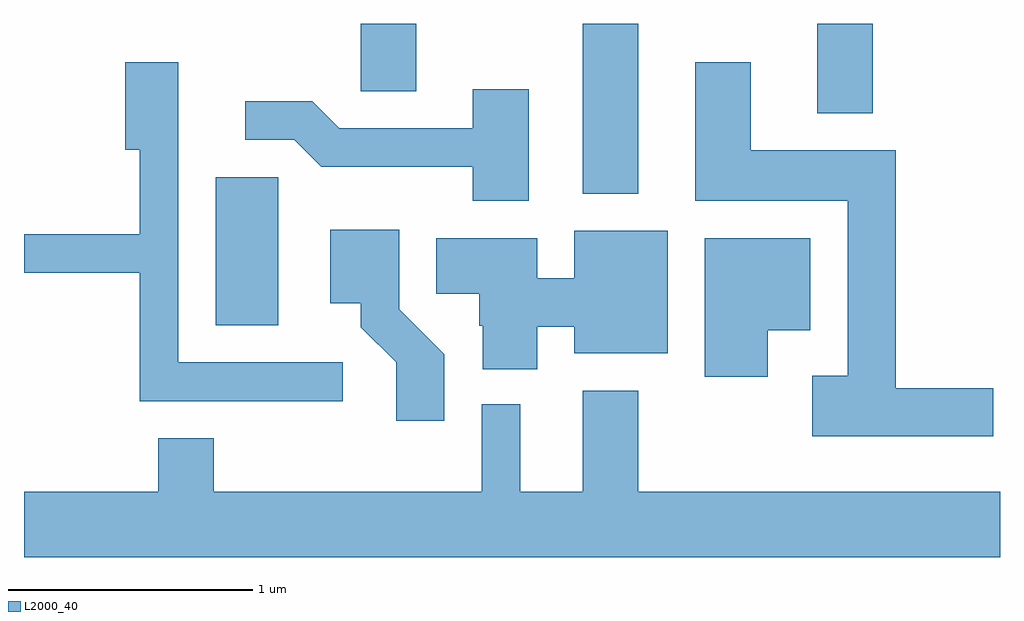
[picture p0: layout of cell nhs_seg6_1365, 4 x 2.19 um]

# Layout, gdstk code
import gdstk
lib = gdstk.Library(unit=1e-6, precision=1e-09)
def R(c, l, rs):  # rectangles x0, y0, x1, y1
    for r in rs: c.add(gdstk.rectangle(r[:2], r[2:], *l))
def P(c, l, *ps):  # polygons
    for p in ps: c.add(gdstk.Polygon(p, *l))
L2000_40 = (2000, 40)

nhs_seg6_1365 = lib.new_cell('nhs_seg6_1365')
R(nhs_seg6_1365, L2000_40, [(226.396,1610.926,226.654,1611.534), (227.901,1611.466,228.129,1612.162), (228.861,1611.796,229.089,1612.162), (226.991,1611.886,227.219,1612.162)])
P(nhs_seg6_1365, L2000_40, [(226.918,1610.774),(226.244,1610.774),(226.244,1612.004),(226.026,1612.004),(226.026,1611.646),(226.086,1611.646),(226.086,1611.299),(225.611,1611.299),(225.611,1611.141),(226.086,1611.141),(226.086,1610.616),(226.918,1610.616)],
  [(229.584,1610.669),(229.184,1610.669),(229.184,1611.644),(228.589,1611.644),(228.589,1612.004),(228.361,1612.004),(228.361,1611.436),(228.986,1611.436),(228.986,1610.719),(228.841,1610.719),(228.841,1610.471),(229.584,1610.471)],
  [(227.679,1611.894),(227.451,1611.894),(227.451,1611.734),(226.902,1611.734),(226.792,1611.844),(226.518,1611.844),(226.518,1611.686),(226.719,1611.686),(226.829,1611.576),(227.451,1611.576),(227.451,1611.436),(227.679,1611.436)],
  [(227.334,1610.807),(227.149,1610.992),(227.149,1611.319),(226.866,1611.319),(226.866,1611.016),(226.991,1611.016),(226.991,1610.919),(227.136,1610.774),(227.136,1610.536),(227.334,1610.536)],
  [(227.714,1610.921),(227.866,1610.921),(227.866,1610.811),(228.249,1610.811),(228.249,1611.314),(227.866,1611.314),(227.866,1611.119),(227.714,1611.119),(227.714,1611.284),(227.301,1611.284),(227.301,1611.056),(227.476,1611.056),(227.476,1610.925),(227.491,1610.925),(227.491,1610.746),(227.714,1610.746)],
  [(228.659,1610.906),(228.834,1610.906),(228.834,1611.284),(228.401,1611.284),(228.401,1610.716),(228.659,1610.716)],
  [(229.611,1610.244),(228.129,1610.244),(228.129,1610.659),(227.901,1610.659),(227.901,1610.244),(227.644,1610.244),(227.644,1610.603),(227.486,1610.603),(227.486,1610.244),(226.389,1610.244),(226.389,1610.464),(226.161,1610.464),(226.161,1610.244),(225.611,1610.244),(225.611,1609.976),(229.611,1609.976)])

lib.write_gds('nhs_seg6_1365.gds')
